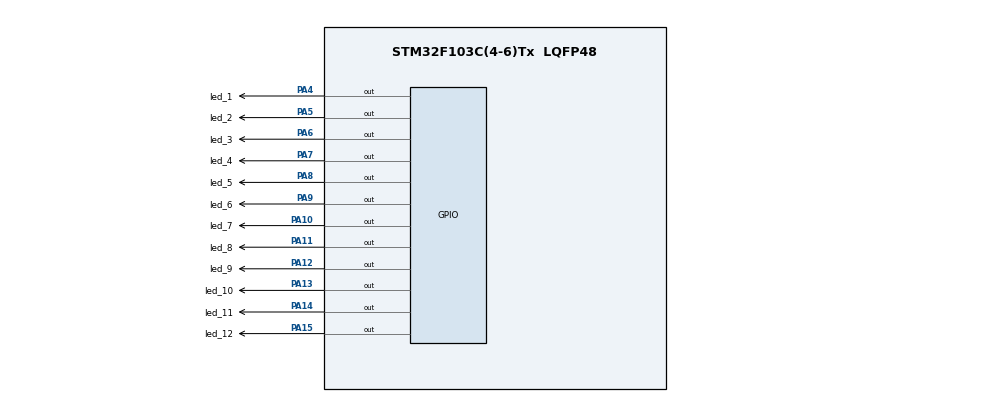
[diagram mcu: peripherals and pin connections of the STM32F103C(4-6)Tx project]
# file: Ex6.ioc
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Mcu.Family=STM32F1
Mcu.Name=STM32F103C(4-6)Tx
Mcu.Package=LQFP48
NVIC.PriorityGroup=NVIC_PRIORITYGROUP_4
PA10.GPIO_Label=led_7
PA10.Signal=GPIO_Output
PA11.GPIO_Label=led_8
PA11.Signal=GPIO_Output
PA12.GPIO_Label=led_9
PA12.Signal=GPIO_Output
PA13.GPIO_Label=led_10
PA13.Signal=GPIO_Output
PA14.GPIO_Label=led_11
PA14.Signal=GPIO_Output
PA15.GPIO_Label=led_12
PA15.Signal=GPIO_Output
PA4.GPIO_Label=led_1
PA4.Signal=GPIO_Output
PA5.GPIO_Label=led_2
PA5.Signal=GPIO_Output
PA6.GPIO_Label=led_3
PA6.Signal=GPIO_Output
PA7.GPIO_Label=led_4
PA7.Signal=GPIO_Output
PA8.GPIO_Label=led_5
PA8.Signal=GPIO_Output
PA9.GPIO_Label=led_6
PA9.Signal=GPIO_Output
ProjectManager.HeapSize=0x200
ProjectManager.StackSize=0x400
ProjectManager.TargetToolchain=STM32CubeIDE
RCC.APB1Freq_Value=8000000
RCC.APB2Freq_Value=8000000
board=custom

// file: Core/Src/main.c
/* USER CODE BEGIN Header */
/**
  ******************************************************************************
  * @file           : main.c
  * @brief          : Main program body
  ******************************************************************************
  * @attention
  *
  * Copyright (c) 2022 STMicroelectronics.
  * All rights reserved.
  *
  * This software is licensed under terms that can be found in the LICENSE file
  * in the root directory of this software component.
  * If no LICENSE file comes with this software, it is provided AS-IS.
  *
  ******************************************************************************
  */
/* USER CODE END Header */
#include "main.h"

void SystemClock_Config(void);
static void MX_GPIO_Init(void);

/* USER CODE BEGIN 0 */
uint16_t cathodeLed[12] = {
	0x800,	//1
	0x400, 	//2
	0x200, 	//3
	0x100, 	//4
	0x080,  //5
	0x040,	//6
	0x020,	//7
	0x010,	//8
	0x008,	//9
	0x004,	//10
	0x002,	//11
	0x001	//12
};

void updateLed(uint16_t number) {
	HAL_GPIO_WritePin(GPIOA, led_1_Pin, (number>>11)&0x01);
	HAL_GPIO_WritePin(GPIOA, led_2_Pin, (number>>10)&0x01);
	HAL_GPIO_WritePin(GPIOA, led_3_Pin, (number>>9)&0x01);
	HAL_GPIO_WritePin(GPIOA, led_4_Pin, (number>>8)&0x01);
	HAL_GPIO_WritePin(GPIOA, led_5_Pin, (number>>7)&0x01);
	HAL_GPIO_WritePin(GPIOA, led_6_Pin, (number>>6)&0x01);
	HAL_GPIO_WritePin(GPIOA, led_7_Pin, (number>>5)&0x01);
	HAL_GPIO_WritePin(GPIOA, led_8_Pin, (number>>4)&0x01);
	HAL_GPIO_WritePin(GPIOA, led_9_Pin, (number>>3)&0x01);
	HAL_GPIO_WritePin(GPIOA, led_10_Pin, (number>>2)&0x01);
	HAL_GPIO_WritePin(GPIOA, led_11_Pin, (number>>1)&0x01);
	HAL_GPIO_WritePin(GPIOA, led_12_Pin, (number>>0)&0x01);
}

void clearAllClock() {
	HAL_GPIO_WritePin(GPIOA, led_1_Pin, 0);
	HAL_GPIO_WritePin(GPIOA, led_2_Pin, 0);
	HAL_GPIO_WritePin(GPIOA, led_3_Pin, 0);
	HAL_GPIO_WritePin(GPIOA, led_4_Pin, 0);
	HAL_GPIO_WritePin(GPIOA, led_5_Pin, 0);
	HAL_GPIO_WritePin(GPIOA, led_6_Pin, 0);
	HAL_GPIO_WritePin(GPIOA, led_7_Pin, 0);
	HAL_GPIO_WritePin(GPIOA, led_8_Pin, 0);
	HAL_GPIO_WritePin(GPIOA, led_9_Pin, 0);
	HAL_GPIO_WritePin(GPIOA, led_10_Pin, 0);
	HAL_GPIO_WritePin(GPIOA, led_11_Pin, 0);
	HAL_GPIO_WritePin(GPIOA, led_12_Pin, 0);
}

void setNumberOnClock(int number) {
	if (number == 1) {
			HAL_GPIO_WritePin(GPIOA, led_1_Pin, 1);
		}
		if (number == 2) {
				HAL_GPIO_WritePin(GPIOA, led_2_Pin, 1);
			}
		if (number == 3) {
				HAL_GPIO_WritePin(GPIOA, led_3_Pin, 1);
			}
		if (number == 4) {
				HAL_GPIO_WritePin(GPIOA, led_4_Pin, 1);
			}
		if (number == 5) {
				HAL_GPIO_WritePin(GPIOA, led_5_Pin, 1);
			}
		if (number == 6) {
				HAL_GPIO_WritePin(GPIOA, led_6_Pin, 1);
			}
		if (number == 7) {
				HAL_GPIO_WritePin(GPIOA, led_7_Pin, 1);
			}
		if (number == 8) {
				HAL_GPIO_WritePin(GPIOA, led_8_Pin, 1);
			}
		if (number == 9) {
				HAL_GPIO_WritePin(GPIOA, led_9_Pin, 1);
			}
		if (number == 10) {
				HAL_GPIO_WritePin(GPIOA, led_10_Pin, 1);
			}
		if (number == 11) {
				HAL_GPIO_WritePin(GPIOA, led_11_Pin, 1);
			}
		if (number == 12) {
				HAL_GPIO_WritePin(GPIOA, led_12_Pin, 1);
			}
}

void clearNumberOnClock(int number) {
	if (number == 1) {
		HAL_GPIO_WritePin(GPIOA, led_1_Pin, 0);
	}
	if (number == 2) {
			HAL_GPIO_WritePin(GPIOA, led_2_Pin, 0);
		}
	if (number == 3) {
			HAL_GPIO_WritePin(GPIOA, led_3_Pin, 0);
		}
	if (number == 4) {
			HAL_GPIO_WritePin(GPIOA, led_4_Pin, 0);
		}
	if (number == 5) {
			HAL_GPIO_WritePin(GPIOA, led_5_Pin, 0);
		}
	if (number == 6) {
			HAL_GPIO_WritePin(GPIOA, led_6_Pin, 0);
		}
	if (number == 7) {
			HAL_GPIO_WritePin(GPIOA, led_7_Pin, 0);
		}
	if (number == 8) {
			HAL_GPIO_WritePin(GPIOA, led_8_Pin, 0);
		}
	if (number == 9) {
			HAL_GPIO_WritePin(GPIOA, led_9_Pin, 0);
		}
	if (number == 10) {
			HAL_GPIO_WritePin(GPIOA, led_10_Pin, 0);
		}
	if (number == 11) {
			HAL_GPIO_WritePin(GPIOA, led_11_Pin, 0);
		}
	if (number == 12) {
			HAL_GPIO_WritePin(GPIOA, led_12_Pin, 0);
		}
}
/* USER CODE END 0 */

int main(void)
{

  /* MCU Configuration--------------------------------------------------------*/

  /* Reset of all peripherals, Initializes the Flash interface and the Systick. */
  HAL_Init();

  /* Configure the system clock */
  SystemClock_Config();

  /* Initialize all configured peripherals */
  MX_GPIO_Init();

  /* Infinite loop */
  /* USER CODE BEGIN WHILE */
  int counter = 0;
  int hour = 1;
  int min = 0;
  while (1)
  {
    /* USER CODE END WHILE */
	  if (counter == 12) {
		  counter = 1;
		  if (hour != 12 && min != 12) clearNumberOnClock(12);
		  setNumberOnClock(counter);
		  if (min == 12) {
			  min = 1;
			  if (hour != 12) clearNumberOnClock(12);
			  setNumberOnClock(min);
			  if (hour == 12) {
				  hour = 1;
				  clearNumberOnClock(12);
				  setNumberOnClock(hour);
			  } else {
				  if (min != hour && counter != hour) clearNumberOnClock(hour);
				  hour++;
				  setNumberOnClock(hour);
			  }
		  } else {
			  if (hour != min && counter != min) clearNumberOnClock(min);
			  min++;
			  setNumberOnClock(min);
		  }
	  } else {
		  if (hour != counter && min != counter) clearNumberOnClock(counter);
		  counter++;
		  setNumberOnClock(counter);
	  }

	  HAL_Delay(100);
  }
}

void SystemClock_Config(void)
{
  RCC_OscInitTypeDef RCC_OscInitStruct = {0};
  RCC_ClkInitTypeDef RCC_ClkInitStruct = {0};

  /** Initializes the RCC Oscillators according to the specified parameters
  * in the RCC_OscInitTypeDef structure.
  */
  RCC_OscInitStruct.OscillatorType = RCC_OSCILLATORTYPE_HSI;
  RCC_OscInitStruct.HSIState = RCC_HSI_ON;
  RCC_OscInitStruct.HSICalibrationValue = RCC_HSICALIBRATION_DEFAULT;
  RCC_OscInitStruct.PLL.PLLState = RCC_PLL_NONE;
  if (HAL_RCC_OscConfig(&RCC_OscInitStruct) != HAL_OK)
  {
    Error_Handler();
  }

  /** Initializes the CPU, AHB and APB buses clocks
  */
  RCC_ClkInitStruct.ClockType = RCC_CLOCKTYPE_HCLK|RCC_CLOCKTYPE_SYSCLK
                              |RCC_CLOCKTYPE_PCLK1|RCC_CLOCKTYPE_PCLK2;
  RCC_ClkInitStruct.SYSCLKSource = RCC_SYSCLKSOURCE_HSI;
  RCC_ClkInitStruct.AHBCLKDivider = RCC_SYSCLK_DIV1;
  RCC_ClkInitStruct.APB1CLKDivider = RCC_HCLK_DIV1;
  RCC_ClkInitStruct.APB2CLKDivider = RCC_HCLK_DIV1;

  if (HAL_RCC_ClockConfig(&RCC_ClkInitStruct, FLASH_LATENCY_0) != HAL_OK)
  {
    Error_Handler();
  }
}

static void MX_GPIO_Init(void)
{
  GPIO_InitTypeDef GPIO_InitStruct = {0};

  /* GPIO Ports Clock Enable */
  __HAL_RCC_GPIOA_CLK_ENABLE();

  /*Configure GPIO pin Output Level */
  HAL_GPIO_WritePin(GPIOA, led_1_Pin|led_2_Pin|led_3_Pin|led_4_Pin
                          |led_5_Pin|led_6_Pin|led_7_Pin|led_8_Pin
                          |led_9_Pin|led_10_Pin|led_11_Pin|led_12_Pin, GPIO_PIN_RESET);

  /*Configure GPIO pins : led_1_Pin led_2_Pin led_3_Pin led_4_Pin
                           led_5_Pin led_6_Pin led_7_Pin led_8_Pin
                           led_9_Pin led_10_Pin led_11_Pin led_12_Pin */
  GPIO_InitStruct.Pin = led_1_Pin|led_2_Pin|led_3_Pin|led_4_Pin
                          |led_5_Pin|led_6_Pin|led_7_Pin|led_8_Pin
                          |led_9_Pin|led_10_Pin|led_11_Pin|led_12_Pin;
  GPIO_InitStruct.Mode = GPIO_MODE_OUTPUT_PP;
  GPIO_InitStruct.Pull = GPIO_NOPULL;
  GPIO_InitStruct.Speed = GPIO_SPEED_FREQ_LOW;
  HAL_GPIO_Init(GPIOA, &GPIO_InitStruct);

}

void Error_Handler(void)
{
  __disable_irq();
  while (1)
  {
  }
}
